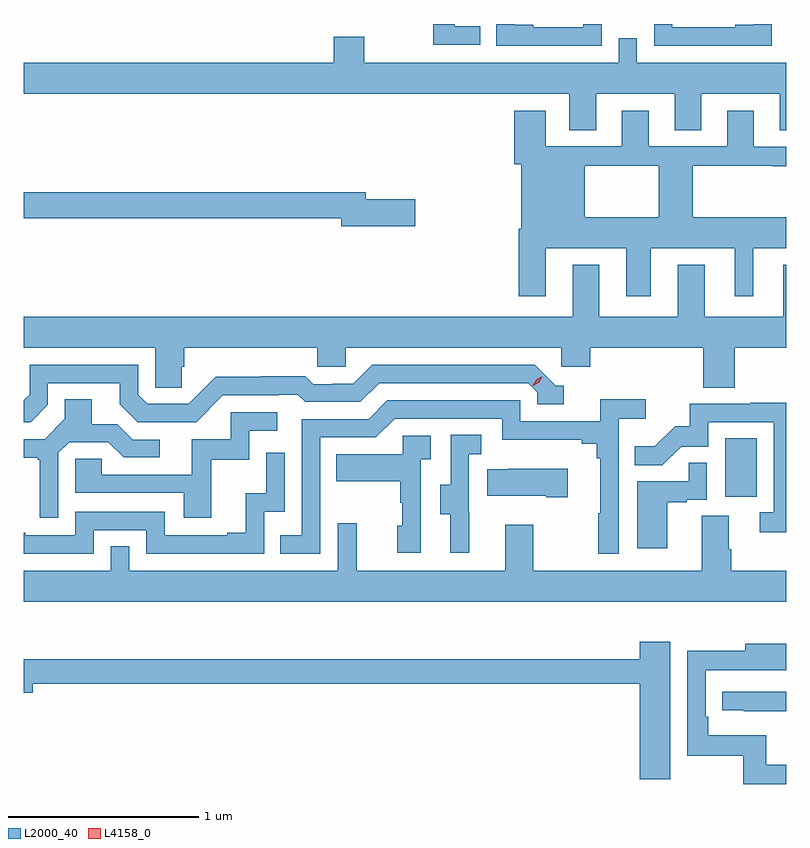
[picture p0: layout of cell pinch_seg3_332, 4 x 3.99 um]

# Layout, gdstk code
import gdstk
lib = gdstk.Library(unit=1e-6, precision=1e-09)
def R(c, l, rs):  # rectangles x0, y0, x1, y1
    for r in rs: c.add(gdstk.rectangle(r[:2], r[2:], *l))
def P(c, l, *ps):  # polygons
    for p in ps: c.add(gdstk.Polygon(p, *l))
L2000_40 = (2000, 40)
L4158_0 = (4158, 0)

pinch_seg3_332 = lib.new_cell('pinch_seg3_332')
R(pinch_seg3_332, L2000_40, [(998.528,718.782,998.692,719.089)])
P(pinch_seg3_332, L2000_40, [(997.241,721.252),(997.107,721.252),(997.107,721.263),(996.996,721.263),(996.996,721.155),(997.241,721.155)],
  [(998.772,721.263),(998.675,721.263),(998.675,721.258),(998.579,721.258),(998.579,721.245),(998.25,721.245),(998.25,721.263),(998.154,721.263),(998.154,721.149),(998.772,721.149)],
  [(997.878,721.263),(997.782,721.263),(997.782,721.245),(997.519,721.245),(997.519,721.258),(997.423,721.258),(997.423,721.263),(997.326,721.263),(997.326,721.149),(997.878,721.149)],
  [(997.849,720.896),(998.261,720.896),(998.261,720.706),(998.401,720.706),(998.401,720.896),(998.813,720.896),(998.813,720.706),(998.847,720.706),(998.847,721.06),(998.064,721.06),(998.064,721.187),(997.968,721.187),(997.968,721.06),(996.633,721.06),(996.633,721.195),(996.473,721.195),(996.473,721.06),(994.847,721.06),(994.847,720.896),(997.709,720.896),(997.709,720.706),(997.849,720.706)],
  [(997.445,720.19),(997.445,719.835),(997.585,719.835),(997.585,720.086),(998.009,720.086),(998.009,719.835),(998.137,719.835),(998.137,720.086),(998.576,720.086),(998.576,719.835),(998.674,719.835),(998.674,720.086),(998.847,720.086),(998.847,720.25),(998.357,720.25),(998.357,720.52),(998.773,720.52),(998.773,720.518),(998.847,720.518),(998.847,720.618),(998.677,720.618),(998.677,720.808),(998.537,720.808),(998.537,720.621),(998.125,720.621),(998.125,720.808),(997.985,720.808),(997.985,720.621),(997.585,720.621),(997.585,720.808),(997.421,720.808),(997.421,720.528),(997.457,720.528),(997.457,720.25),(997.789,720.25),(997.789,720.52),(998.179,720.52),(998.179,720.25),(997.789,720.25),(997.457,720.25),(997.457,720.19)],
  [(996.901,720.344),(996.64,720.344),(996.64,720.38),(994.847,720.38),(994.847,720.244),(996.512,720.244),(996.512,720.202),(996.901,720.202)],
  [(995.675,719.466),(995.69,719.466),(995.69,719.564),(996.387,719.564),(996.387,719.466),(996.537,719.466),(996.537,719.564),(997.668,719.564),(997.668,719.466),(997.82,719.466),(997.82,719.564),(998.411,719.564),(998.411,719.356),(998.576,719.356),(998.576,719.564),(998.847,719.564),(998.847,720.001),(998.831,720.001),(998.831,719.728),(998.419,719.728),(998.419,720.001),(998.279,720.001),(998.279,719.728),(997.867,719.728),(997.867,720.001),(997.727,720.001),(997.727,719.728),(994.847,719.728),(994.847,719.564),(995.538,719.564),(995.538,719.356),(995.675,719.356)],
  [(994.974,719.265),(994.974,719.379),(995.351,719.379),(995.351,719.269),(995.445,719.175),(995.751,719.175),(995.892,719.316),(996.185,719.316),(996.185,719.319),(996.284,719.319),(996.323,719.28),(996.612,719.28),(996.711,719.379),(997.494,719.379),(997.542,719.331),(997.542,719.268),(997.681,719.268),(997.681,719.364),(997.638,719.364),(997.527,719.475),(996.674,719.475),(996.575,719.376),(996.468,719.376),(996.468,719.373),(996.365,719.373),(996.323,719.416),(996.09,719.416),(996.09,719.413),(995.854,719.413),(995.712,719.271),(995.496,719.271),(995.448,719.319),(995.448,719.475),(994.878,719.475),(994.878,719.319),(994.847,719.288),(994.847,719.175),(994.884,719.175)],
  [(995.028,719.013),(995.085,719.07),(995.291,719.07),(995.372,718.989),(995.56,718.989),(995.56,719.082),(995.418,719.082),(995.338,719.162),(995.203,719.162),(995.203,719.294),(995.063,719.294),(995.063,719.192),(994.956,719.085),(994.847,719.085),(994.847,718.988),(994.92,718.988),(994.92,718.977),(994.931,718.977),(994.931,718.674),(995.028,718.674)],
  [(996.402,719.094),(996.693,719.094),(996.792,719.193),(997.356,719.193),(997.356,719.081),(997.775,719.081),(997.775,719.062),(997.852,719.062),(997.852,718.985),(997.871,718.985),(997.871,718.697),(997.86,718.697),(997.86,718.485),(997.968,718.485),(997.968,719.192),(998.11,719.192),(998.11,719.294),(997.871,719.294),(997.871,719.178),(997.452,719.178),(997.452,719.289),(996.755,719.289),(996.656,719.19),(996.306,719.19),(996.306,718.581),(996.193,718.581),(996.193,718.485),(996.402,718.485)],
  [(998.847,719.276),(998.659,719.276),(998.659,719.271),(998.341,719.271),(998.341,719.154),(998.264,719.154),(998.157,719.047),(998.053,719.047),(998.053,718.948),(998.197,718.948),(998.295,719.046),(998.439,719.046),(998.439,719.175),(998.781,719.175),(998.781,718.701),(998.709,718.701),(998.709,718.596),(998.847,718.596)],
  [(995.831,718.977),(996.03,718.977),(996.03,719.13),(996.178,719.13),(996.178,719.226),(995.934,719.226),(995.934,719.085),(995.729,719.085),(995.729,718.899),(995.255,718.899),(995.255,718.983),(995.118,718.983),(995.118,718.803),(995.687,718.803),(995.687,718.674),(995.831,718.674)],
  [(997.184,718.701),(997.182,718.701),(997.182,719.005),(997.246,719.005),(997.246,719.108),(997.086,719.108),(997.086,718.845),(997.031,718.845),(997.031,718.69),(997.085,718.69),(997.085,718.488),(997.184,718.488)],
  [(996.93,718.979),(996.982,718.979),(996.982,719.103),(996.834,719.103),(996.834,719.005),(996.487,719.005),(996.487,718.865),(996.822,718.865),(996.822,718.751),(996.832,718.751),(996.832,718.632),(996.806,718.632),(996.806,718.488),(996.93,718.488)],
  [(995.214,718.608),(995.49,718.608),(995.49,718.485),(996.108,718.485),(996.108,718.704),(996.216,718.704),(996.216,719.014),(996.12,719.014),(996.12,718.802),(996.011,718.802),(996.011,718.594),(995.915,718.594),(995.915,718.581),(995.586,718.581),(995.586,718.704),(995.118,718.704),(995.118,718.581),(994.855,718.581),(994.855,718.594),(994.847,718.594),(994.847,718.485),(995.214,718.485)],
  [(998.224,718.755),(998.324,718.755),(998.324,718.767),(998.43,718.767),(998.43,718.961),(998.335,718.961),(998.335,718.863),(998.066,718.863),(998.066,718.512),(998.224,718.512)],
  [(997.702,718.93),(997.387,718.93),(997.387,718.927),(997.279,718.927),(997.279,718.787),(997.589,718.787),(997.589,718.78),(997.702,718.78)],
  [(998.847,718.396),(998.558,718.396),(998.558,718.508),(998.545,718.508),(998.545,718.682),(998.405,718.682),(998.405,718.396),(997.521,718.396),(997.521,718.636),(997.373,718.636),(997.373,718.396),(996.593,718.396),(996.593,718.645),(996.495,718.645),(996.495,718.396),(995.4,718.396),(995.4,718.523),(995.304,718.523),(995.304,718.396),(994.847,718.396),(994.847,718.232),(998.847,718.232)],
  [(998.239,718.021),(998.078,718.021),(998.078,717.931),(994.847,717.931),(994.847,717.755),(994.894,717.755),(994.894,717.802),(998.078,717.802),(998.078,717.3),(998.239,717.3)],
  [(998.847,717.377),(998.743,717.377),(998.743,717.532),(998.438,717.532),(998.438,717.628),(998.424,717.628),(998.424,717.873),(998.737,717.873),(998.737,717.872),(998.847,717.872),(998.847,718.012),(998.633,718.012),(998.633,717.974),(998.328,717.974),(998.328,717.423),(998.622,717.423),(998.622,717.276),(998.847,717.276)],
  [(998.847,717.759),(998.511,717.759),(998.511,717.663),(998.623,717.663),(998.623,717.658),(998.847,717.658)])
P(pinch_seg3_332, L4158_0, [(997.518,719.364),(997.518,719.365),(997.535,719.397),(997.566,719.416),(997.566,719.416),(997.566,719.416),(997.55,719.384),(997.519,719.364)])

lib.write_gds('pinch_seg3_332.gds')
